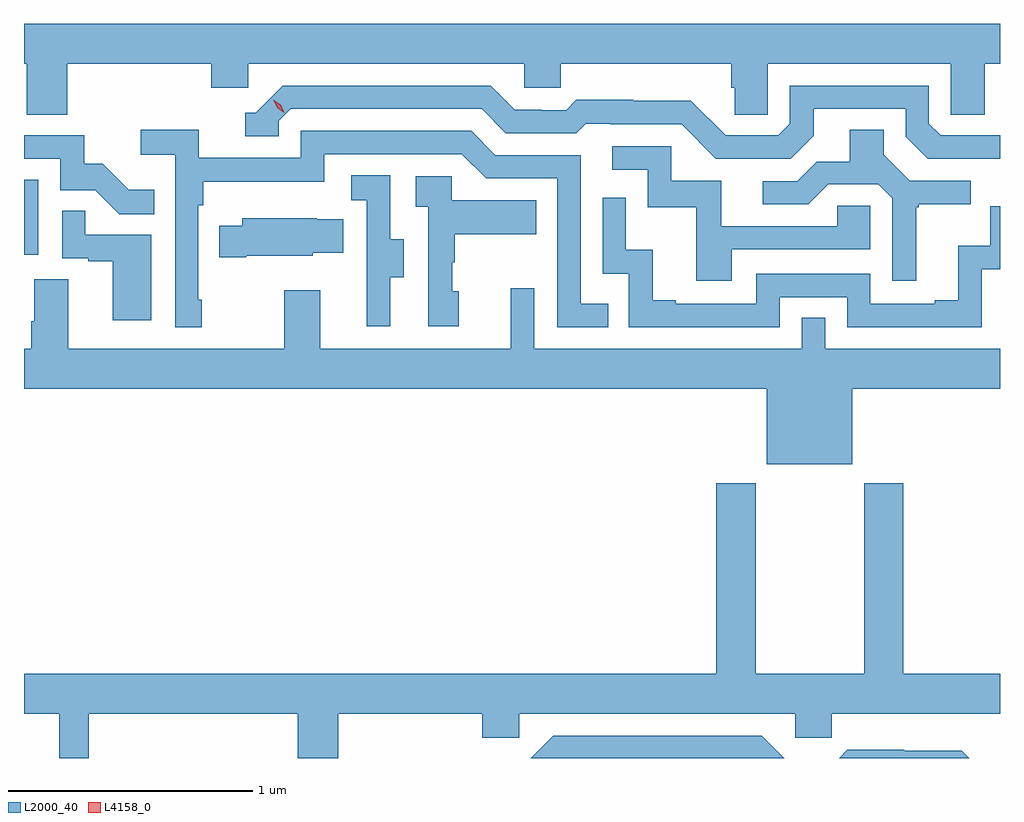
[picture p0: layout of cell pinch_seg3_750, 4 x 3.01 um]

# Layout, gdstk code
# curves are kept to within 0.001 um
import gdstk
lib = gdstk.Library(unit=1e-6, precision=1e-09)
def R(c, l, rs):  # rectangles x0, y0, x1, y1
    for r in rs: c.add(gdstk.rectangle(r[:2], r[2:], *l))
def P(c, l, *ps):  # polygons
    for p in ps: c.add(gdstk.Polygon(p, *l))
L2000_40 = (2000, 40)
L4158_0 = (4158, 0)

pinch_seg3_750 = lib.new_cell('pinch_seg3_750')
R(pinch_seg3_750, L2000_40, [(831.647,732.102,831.706,732.409)])
P(pinch_seg3_750, L2000_40, [(831.824,732.884),(832.415,732.884),(832.415,732.786),(832.566,732.786),(832.566,732.884),(833.697,732.884),(833.697,732.786),(833.847,732.786),(833.847,732.884),(834.545,732.884),(834.545,732.786),(834.559,732.786),(834.559,732.676),(834.696,732.676),(834.696,732.884),(835.446,732.884),(835.446,732.676),(835.585,732.676),(835.585,732.884),(835.647,732.884),(835.647,733.048),(831.647,733.048),(831.647,732.884),(831.659,732.884),(831.659,732.676),(831.824,732.676)],
  [(835.647,732.591),(835.404,732.591),(835.356,732.639),(835.356,732.795),(834.786,732.795),(834.786,732.639),(834.738,732.591),(834.522,732.591),(834.38,732.733),(834.144,732.733),(834.144,732.736),(833.911,732.736),(833.869,732.693),(833.766,732.693),(833.766,732.696),(833.659,732.696),(833.56,732.795),(832.707,732.795),(832.596,732.684),(832.553,732.684),(832.553,732.588),(832.692,732.588),(832.692,732.651),(832.74,732.699),(833.523,732.699),(833.622,732.6),(833.911,732.6),(833.95,732.639),(834.049,732.639),(834.049,732.636),(834.342,732.636),(834.483,732.495),(834.789,732.495),(834.883,732.589),(834.883,732.699),(835.26,732.699),(835.26,732.585),(835.35,732.495),(835.647,732.494)],
  [(832.375,731.917),(832.362,731.917),(832.362,732.305),(832.382,732.305),(832.382,732.401),(832.878,732.401),(832.878,732.513),(833.442,732.513),(833.541,732.414),(833.832,732.414),(833.832,731.805),(834.041,731.805),(834.041,731.901),(833.928,731.901),(833.928,732.51),(833.578,732.51),(833.479,732.609),(832.782,732.609),(832.782,732.498),(832.364,732.498),(832.364,732.614),(832.125,732.614),(832.125,732.512),(832.266,732.512),(832.266,731.805),(832.375,731.805)],
  [(835.303,732.297),(835.315,732.297),(835.315,732.308),(835.528,732.308),(835.528,732.405),(835.278,732.405),(835.171,732.512),(835.171,732.614),(835.031,732.614),(835.031,732.482),(834.896,732.482),(834.816,732.402),(834.675,732.402),(834.675,732.309),(834.862,732.309),(834.943,732.39),(835.149,732.39),(835.206,732.333),(835.206,731.994),(835.303,731.994)],
  [(832.181,732.367),(832.077,732.367),(831.97,732.474),(831.894,732.474),(831.894,732.591),(831.647,732.591),(831.647,732.495),(831.795,732.495),(831.795,732.366),(831.939,732.366),(832.037,732.268),(832.181,732.268)],
  [(834.547,732.123),(835.116,732.123),(835.116,732.303),(834.979,732.303),(834.979,732.219),(834.505,732.219),(834.505,732.405),(834.3,732.405),(834.3,732.546),(834.057,732.546),(834.057,732.45),(834.204,732.45),(834.204,732.297),(834.403,732.297),(834.403,731.994),(834.547,731.994)],
  [(833.149,732.01),(833.203,732.01),(833.203,732.165),(833.148,732.165),(833.148,732.428),(832.989,732.428),(832.989,732.325),(833.052,732.325),(833.052,732.021),(833.051,732.021),(833.051,731.808),(833.149,731.808)],
  [(833.428,731.952),(833.403,731.952),(833.403,732.071),(833.413,732.071),(833.413,732.185),(833.747,732.185),(833.747,732.325),(833.4,732.325),(833.4,732.423),(833.253,732.423),(833.253,732.299),(833.304,732.299),(833.304,731.808),(833.428,731.808)],
  [(834.744,731.928),(835.02,731.928),(835.02,731.805),(835.572,731.805),(835.572,732.041),(835.647,732.041),(835.647,732.3),(835.608,732.3),(835.608,732.139),(835.475,732.139),(835.475,731.914),(835.379,731.914),(835.379,731.901),(835.116,731.901),(835.116,732.024),(834.648,732.024),(834.648,731.901),(834.319,731.901),(834.319,731.914),(834.224,731.914),(834.224,732.122),(834.114,732.122),(834.114,732.334),(834.018,732.334),(834.018,732.024),(834.126,732.024),(834.126,731.805),(834.744,731.805)],
  [(832.168,732.183),(831.899,732.183),(831.899,732.281),(831.804,732.281),(831.804,732.087),(831.911,732.087),(831.911,732.075),(832.01,732.075),(832.01,731.832),(832.168,731.832)],
  [(832.558,732.098),(832.83,732.098),(832.83,732.11),(832.955,732.11),(832.955,732.247),(832.847,732.247),(832.847,732.25),(832.541,732.25),(832.541,732.22),(832.447,732.22),(832.447,732.091),(832.558,732.091)],
  [(835.042,731.552),(835.647,731.552),(835.647,731.716),(834.93,731.716),(834.93,731.843),(834.834,731.843),(834.834,731.716),(833.739,731.716),(833.739,731.965),(833.642,731.965),(833.642,731.716),(832.861,731.716),(832.861,731.956),(832.714,731.956),(832.714,731.716),(831.829,731.716),(831.829,732.002),(831.689,732.002),(831.689,731.828),(831.677,731.828),(831.677,731.716),(831.647,731.716),(831.647,731.552),(834.692,731.552),(834.692,731.243),(835.042,731.243)],
  [(831.913,730.22),(832.769,730.22),(832.769,730.038),(832.934,730.038),(832.934,730.22),(833.525,730.22),(833.525,730.122),(833.676,730.122),(833.676,730.22),(834.807,730.22),(834.807,730.122),(834.957,730.122),(834.957,730.22),(835.647,730.22),(835.647,730.384),(835.25,730.384),(835.25,731.164),(835.09,731.164),(835.09,730.384),(834.645,730.384),(834.645,731.164),(834.485,731.164),(834.485,730.384),(831.647,730.384),(831.647,730.22),(831.791,730.22),(831.791,730.038),(831.913,730.038)],
  [(834.67,730.131),(833.817,730.131),(833.724,730.038),(834.763,730.038)],
  [(835.49,730.069),(835.254,730.069),(835.254,730.072),(835.021,730.072),(834.988,730.038),(835.521,730.038)])
P(pinch_seg3_750, L4158_0, [(832.714,732.684),(832.684,732.703),(832.668,732.736),(832.668,732.736),(832.668,732.736),(832.699,732.716),(832.714,732.684),(832.714,732.684)])

lib.write_gds('pinch_seg3_750.gds')
